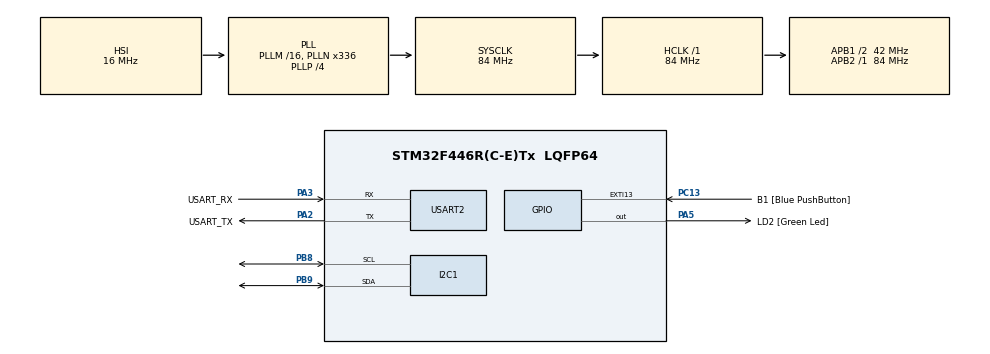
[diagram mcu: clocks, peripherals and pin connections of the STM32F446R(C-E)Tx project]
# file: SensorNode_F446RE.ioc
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Mcu.Family=STM32F4
Mcu.Name=STM32F446R(C-E)Tx
Mcu.Package=LQFP64
NVIC.PriorityGroup=NVIC_PRIORITYGROUP_0
PA13.GPIO_Label=TMS
PA13.Mode=Serial_Wire
PA13.Signal=SYS_JTMS-SWDIO
PA14.GPIO_Label=TCK
PA14.Mode=Serial_Wire
PA14.Signal=SYS_JTCK-SWCLK
PA2.GPIO_Label=USART_TX
PA2.Mode=Asynchronous
PA2.Signal=USART2_TX
PA3.GPIO_Label=USART_RX
PA3.Mode=Asynchronous
PA3.Signal=USART2_RX
PA5.GPIO_Label=LD2 [Green Led]
PA5.Signal=GPIO_Output
PB3.GPIO_Label=SWO
PB3.Signal=SYS_JTDO-SWO
PB8.Mode=I2C
PB8.Signal=I2C1_SCL
PB9.Mode=I2C
PB9.Signal=I2C1_SDA
PC13.GPIO_Label=B1 [Blue PushButton]
PC13.GPIO_ModeDefaultEXTI=GPIO_MODE_IT_FALLING
PC13.Signal=GPXTI13
PC14-OSC32_IN.Mode=LSE-External-Oscillator
PC14-OSC32_IN.Signal=RCC_OSC32_IN
PC15-OSC32_OUT.Mode=LSE-External-Oscillator
PC15-OSC32_OUT.Signal=RCC_OSC32_OUT
PH0-OSC_IN.Mode=HSE-External-Oscillator
PH0-OSC_IN.Signal=RCC_OSC_IN
PH1-OSC_OUT.Mode=HSE-External-Oscillator
PH1-OSC_OUT.Signal=RCC_OSC_OUT
ProjectManager.HeapSize=0x200
ProjectManager.StackSize=0x400
ProjectManager.TargetToolchain=CMake
RCC.48MHZClocksFreq_Value=84000000
RCC.AHBFreq_Value=84000000
RCC.APB1CLKDivider=RCC_HCLK_DIV2
RCC.APB1Freq_Value=42000000
RCC.APB1TimFreq_Value=84000000
RCC.APB2Freq_Value=84000000
RCC.APB2TimFreq_Value=84000000
RCC.CortexFreq_Value=84000000
RCC.FLatency-AdvancedSettings=FLASH_LATENCY_2
RCC.HCLKFreq_Value=84000000
RCC.HSE_VALUE=8000000
RCC.HSI_VALUE=16000000
RCC.PLLN=336
RCC.PLLP=RCC_PLLP_DIV4
RCC.SYSCLKFreq_VALUE=84000000
RCC.SYSCLKSource=RCC_SYSCLKSOURCE_PLLCLK
RCC.USBFreq_Value=168000000
RCC.VCOOutputFreq_Value=336000000
USART2.VirtualMode=VM_ASYNC
board=NUCLEO-F446RE

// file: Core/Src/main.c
/* USER CODE BEGIN Header */
/**
  ******************************************************************************
  * @file           : main.c
  * @brief          : Main program body
  ******************************************************************************
  * @attention
  *
  * Copyright (c) 2026 STMicroelectronics.
  * All rights reserved.
  *
  * This software is licensed under terms that can be found in the LICENSE file
  * in the root directory of this software component.
  * If no LICENSE file comes with this software, it is provided AS-IS.
  *
  ******************************************************************************
  */
/* USER CODE END Header */
#include "main.h"
#include "stm32f446xx.h"
#include "stm32f4xx_hal.h"
#include "stm32f4xx_hal_conf.h"
#include "stm32f4xx_hal_def.h"
#include "stm32f4xx_hal_gpio.h"
#include "stm32f4xx_hal_uart.h"
#include <stdint.h>

/* USER CODE BEGIN Includes */
#include "bme280_driver.h"
#include "ssd1306.h"
#include "ssd1306_fonts.h"

#include <string.h>
#include <stdio.h>
/* USER CODE END Includes */

I2C_HandleTypeDef hi2c1;

UART_HandleTypeDef huart2;

void SystemClock_Config(void);
static void MX_GPIO_Init(void);
static void MX_USART2_UART_Init(void);
static void MX_I2C1_Init(void);

int main(void)
{

  /* USER CODE BEGIN 1 */
  uint8_t raw_data[8]; // buffer for Burst-Read
  float temp, press, hum; // results of calculations
  char uart_buf[100];     // buffer for uart
  BME280_Handle bme280_handle;
  uint8_t sensor_was_offline = 0;
  /* USER CODE END 1 */

  /* MCU Configuration--------------------------------------------------------*/

  /* Reset of all peripherals, Initializes the Flash interface and the Systick. */
  HAL_Init();

  /* Configure the system clock */
  SystemClock_Config();

  /* Initialize all configured peripherals */
  MX_GPIO_Init();
  MX_USART2_UART_Init();
  MX_I2C1_Init();
  /* USER CODE BEGIN 2 */

  // Initialize my BME280 driver
  HAL_StatusTypeDef sensor_status = BME280_Init(&hi2c1, &bme280_handle);

  if (sensor_status == HAL_OK) {
    sprintf(uart_buf, "Started BME280 Driver!\r\n");
  } else {
    sprintf(uart_buf, "Error: BME280 Sensor not found!\r\n");
  }
  HAL_UART_Transmit(&huart2, (uint8_t*)uart_buf, strlen(uart_buf), 100);

  // Initialize the OLED display.
  ssd1306_Init();

  // Draw an (animated) startup screen
  char startup_buf[16] = "Booting";

  ssd1306_Fill(Black);
  ssd1306_SetCursor(10, 20);
  ssd1306_WriteString(startup_buf, Font_11x18, White);
  ssd1306_UpdateScreen(); // sends the buffer to the OLED

  HAL_Delay(1000);

  for (int i = 0; i < 3; i++) {
    strcat(startup_buf, ".");

    ssd1306_Fill(Black);
    ssd1306_SetCursor(10, 20);
    ssd1306_WriteString(startup_buf, Font_11x18, White);
    ssd1306_UpdateScreen();

    HAL_Delay(1000);
  }

  /* USER CODE END 2 */

  /* Infinite loop */
  while (1)
  {

    /* USER CODE BEGIN 3 */

    // read all 8 bytes in one go
    if (BME280_ReadRawData(&hi2c1, raw_data) == HAL_OK) {
      // reconnect and reinitialize sensor
      if (sensor_was_offline == 1) {
            BME280_Init(&hi2c1, &bme280_handle);
            sensor_was_offline = 0;
            sprintf(uart_buf, "-> Sensor reconnected and initialized!\r\n");
            HAL_UART_Transmit(&huart2, (uint8_t*)uart_buf, strlen(uart_buf), 100);

            HAL_Delay(100);
            continue; // get new data
      }

      // calculation, temp must be first
      // because only this function sets the t_fine in the Handle for the other calculations
      temp  = BME280_CalculateTemperature(raw_data, &bme280_handle);
      press = BME280_CalculatePressure(raw_data, &bme280_handle);
      hum   = BME280_CalculateHumidity(raw_data, &bme280_handle);

      // ----- SEND DATA TO PC VIA UART ---------------------------------------------------

      // format print
      sprintf(uart_buf, "Temp: %.2f C | Pressure: %.2f hPa | Humidity: %.2f %%\r\n",
              temp, press, hum);

      // send to pc
      HAL_UART_Transmit(&huart2, (uint8_t*)uart_buf, strlen(uart_buf), 100);

      // ----- SEND DATA TO OLED DISPLAY VIA I2C ------------------------------------------

      // clear the screen
      ssd1306_Fill(Black);

      // format the temperature text
      char display_buf[32];
      sprintf(display_buf, "Temp: %.1f C", temp);

      // set cursor (X=5 pixels right, Y=5 pixels down) and write */
      ssd1306_SetCursor(5, 5);
      ssd1306_WriteString(display_buf, Font_7x10, White);

      // format and write pressure
      sprintf(display_buf, "Pres: %.1f hPa", press);
      ssd1306_SetCursor(5, 20);
      ssd1306_WriteString(display_buf, Font_7x10, White);

      // format and write humidity
      sprintf(display_buf, "Hum:  %.1f %%", hum);
      ssd1306_SetCursor(5, 35);
      ssd1306_WriteString(display_buf, Font_7x10, White);

      // push the drawing to the physical screen
      ssd1306_UpdateScreen();

    } else { // runtime error
      sensor_was_offline = 1;
      sprintf(uart_buf, "WARNING: Lost connection to the BME280 sensor!\r\n");
      HAL_UART_Transmit(&huart2, (uint8_t*)uart_buf, strlen(uart_buf), 100);
    }

    HAL_Delay(1000);
  }
  /* USER CODE END 3 */
}

void SystemClock_Config(void)
{
  RCC_OscInitTypeDef RCC_OscInitStruct = {0};
  RCC_ClkInitTypeDef RCC_ClkInitStruct = {0};

  /** Configure the main internal regulator output voltage
  */
  __HAL_RCC_PWR_CLK_ENABLE();
  __HAL_PWR_VOLTAGESCALING_CONFIG(PWR_REGULATOR_VOLTAGE_SCALE3);

  /** Initializes the RCC Oscillators according to the specified parameters
  * in the RCC_OscInitTypeDef structure.
  */
  RCC_OscInitStruct.OscillatorType = RCC_OSCILLATORTYPE_HSI;
  RCC_OscInitStruct.HSIState = RCC_HSI_ON;
  RCC_OscInitStruct.HSICalibrationValue = RCC_HSICALIBRATION_DEFAULT;
  RCC_OscInitStruct.PLL.PLLState = RCC_PLL_ON;
  RCC_OscInitStruct.PLL.PLLSource = RCC_PLLSOURCE_HSI;
  RCC_OscInitStruct.PLL.PLLM = 16;
  RCC_OscInitStruct.PLL.PLLN = 336;
  RCC_OscInitStruct.PLL.PLLP = RCC_PLLP_DIV4;
  RCC_OscInitStruct.PLL.PLLQ = 2;
  RCC_OscInitStruct.PLL.PLLR = 2;
  if (HAL_RCC_OscConfig(&RCC_OscInitStruct) != HAL_OK)
  {
    Error_Handler();
  }

  /** Initializes the CPU, AHB and APB buses clocks
  */
  RCC_ClkInitStruct.ClockType = RCC_CLOCKTYPE_HCLK|RCC_CLOCKTYPE_SYSCLK
                              |RCC_CLOCKTYPE_PCLK1|RCC_CLOCKTYPE_PCLK2;
  RCC_ClkInitStruct.SYSCLKSource = RCC_SYSCLKSOURCE_PLLCLK;
  RCC_ClkInitStruct.AHBCLKDivider = RCC_SYSCLK_DIV1;
  RCC_ClkInitStruct.APB1CLKDivider = RCC_HCLK_DIV2;
  RCC_ClkInitStruct.APB2CLKDivider = RCC_HCLK_DIV1;

  if (HAL_RCC_ClockConfig(&RCC_ClkInitStruct, FLASH_LATENCY_2) != HAL_OK)
  {
    Error_Handler();
  }
}

static void MX_I2C1_Init(void)
{

  hi2c1.Instance = I2C1;
  hi2c1.Init.ClockSpeed = 100000;
  hi2c1.Init.DutyCycle = I2C_DUTYCYCLE_2;
  hi2c1.Init.OwnAddress1 = 0;
  hi2c1.Init.AddressingMode = I2C_ADDRESSINGMODE_7BIT;
  hi2c1.Init.DualAddressMode = I2C_DUALADDRESS_DISABLE;
  hi2c1.Init.OwnAddress2 = 0;
  hi2c1.Init.GeneralCallMode = I2C_GENERALCALL_DISABLE;
  hi2c1.Init.NoStretchMode = I2C_NOSTRETCH_DISABLE;
  if (HAL_I2C_Init(&hi2c1) != HAL_OK)
  {
    Error_Handler();
  }

}

static void MX_USART2_UART_Init(void)
{

  huart2.Instance = USART2;
  huart2.Init.BaudRate = 115200;
  huart2.Init.WordLength = UART_WORDLENGTH_8B;
  huart2.Init.StopBits = UART_STOPBITS_1;
  huart2.Init.Parity = UART_PARITY_NONE;
  huart2.Init.Mode = UART_MODE_TX_RX;
  huart2.Init.HwFlowCtl = UART_HWCONTROL_NONE;
  huart2.Init.OverSampling = UART_OVERSAMPLING_16;
  if (HAL_UART_Init(&huart2) != HAL_OK)
  {
    Error_Handler();
  }

}

static void MX_GPIO_Init(void)
{
  GPIO_InitTypeDef GPIO_InitStruct = {0};

  /* GPIO Ports Clock Enable */
  __HAL_RCC_GPIOC_CLK_ENABLE();
  __HAL_RCC_GPIOH_CLK_ENABLE();
  __HAL_RCC_GPIOA_CLK_ENABLE();
  __HAL_RCC_GPIOB_CLK_ENABLE();

  /*Configure GPIO pin Output Level */
  HAL_GPIO_WritePin(LD2_GPIO_Port, LD2_Pin, GPIO_PIN_RESET);

  /*Configure GPIO pin : B1_Pin */
  GPIO_InitStruct.Pin = B1_Pin;
  GPIO_InitStruct.Mode = GPIO_MODE_IT_FALLING;
  GPIO_InitStruct.Pull = GPIO_NOPULL;
  HAL_GPIO_Init(B1_GPIO_Port, &GPIO_InitStruct);

  /*Configure GPIO pin : LD2_Pin */
  GPIO_InitStruct.Pin = LD2_Pin;
  GPIO_InitStruct.Mode = GPIO_MODE_OUTPUT_PP;
  GPIO_InitStruct.Pull = GPIO_NOPULL;
  GPIO_InitStruct.Speed = GPIO_SPEED_FREQ_LOW;
  HAL_GPIO_Init(LD2_GPIO_Port, &GPIO_InitStruct);

}

void Error_Handler(void)
{
  __disable_irq();
  while (1)
  {
  }
}
